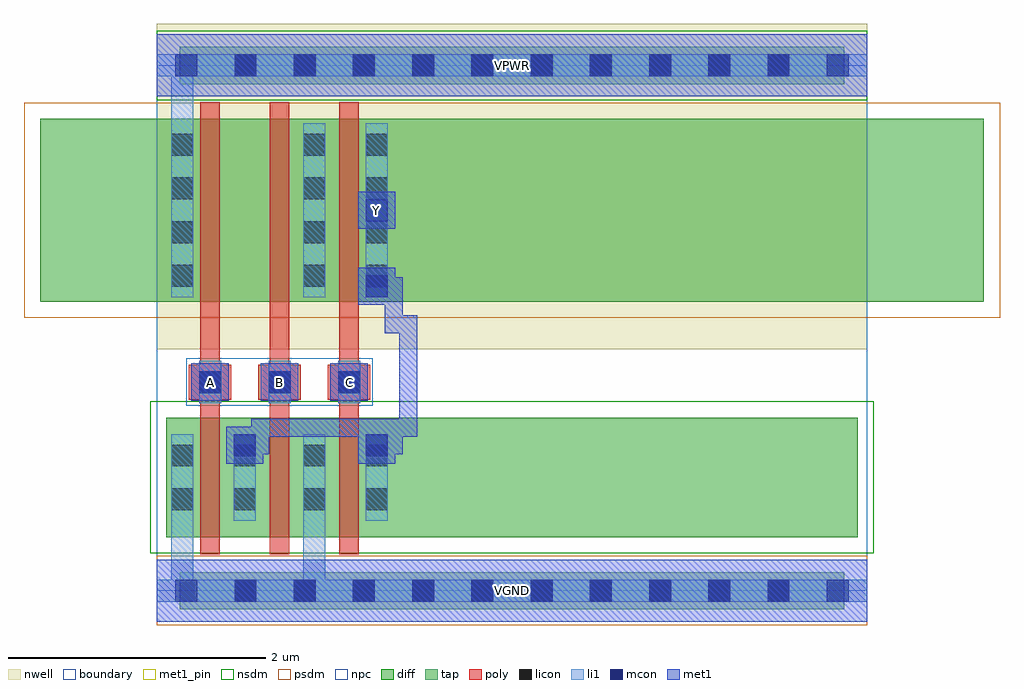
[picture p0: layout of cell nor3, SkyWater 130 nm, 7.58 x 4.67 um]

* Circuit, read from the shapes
.subckt nor3 A B C VGND VPWR Y
XM1 Y A VGND VGND sky130_fd_pr__nfet_01v8 w=0.93 l=0.15
XM2 VGND B Y VGND sky130_fd_pr__nfet_01v8 w=0.93 l=0.15
XM3 Y C VGND VGND sky130_fd_pr__nfet_01v8 w=0.93 l=0.15
XM4 n1 A VPWR VPWR sky130_fd_pr__pfet_01v8 w=1.42 l=0.15
XM5 n2 B n1 VPWR sky130_fd_pr__pfet_01v8 w=1.42 l=0.15
XM6 Y C n2 VPWR sky130_fd_pr__pfet_01v8 w=1.42 l=0.15
.ends

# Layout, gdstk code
import gdstk
lib = gdstk.Library(unit=1e-6, precision=1e-09)
def R(c, l, rs):  # rectangles x0, y0, x1, y1
    for r in rs: c.add(gdstk.rectangle(r[:2], r[2:], *l))
def A(c, l, x, y, w, h, nx, ny, dx, dy):  # array of equal rectangles
    R(c, l, [(x+i*dx, y+j*dy, x+i*dx+w, y+j*dy+h) for i in range(nx) for j in range(ny)])
nwell = (64, 20)
diff = (65, 20)
tap = (65, 44)
poly = (66, 20)
licon = (66, 44)
li1 = (67, 20)
mcon = (67, 44)
met1_pin = (68, 16)
met1 = (68, 20)
nsdm = (93, 44)
psdm = (94, 20)
npc = (95, 20)
boundary = (235, 4)

nor3 = lib.new_cell('nor3')
R(nor3, nwell, [(0,1.875,5.52,4.405)])
R(nor3, diff, [(0.075,0.415,5.445,1.345), (-0.905,2.245,6.425,3.665)])
R(nor3, tap, [(0.18,-0.145,5.34,0.145), (0.18,3.935,5.34,4.225)])
A(nor3, poly, 0.34, 0.285, 0.15, 3.51, 3, 1, 0.54, 0)
A(nor3, poly, 0.25, 1.485, 0.33, 0.27, 3, 1, 0.54, 0)
A(nor3, licon, 0.605, -0.085, 0.17, 0.17, 10, 2, 0.46, 4.08)
A(nor3, licon, 0.33, 1.535, 0.17, 0.17, 3, 1, 0.54, 0)
A(nor3, licon, 0.115, 2.36, 0.17, 0.17, 1, 4, 0, 0.34)
A(nor3, licon, 1.14, 2.36, 0.17, 0.17, 1, 4, 0, 0.34)
A(nor3, licon, 1.625, 2.36, 0.17, 0.17, 1, 4, 0, 0.34)
R(nor3, licon, [(0.115,0.625,0.285,0.795), (0.6,0.625,0.77,0.795), (1.14,0.625,1.31,0.795), (1.625,0.625,1.795,0.795), (0.115,0.965,0.285,1.135), (0.6,0.965,0.77,1.135), (1.14,0.965,1.31,1.135), (1.625,0.965,1.795,1.135)])
A(nor3, li1, 0.33, 1.455, 0.17, 0.33, 3, 1, 0.54, 0)
R(nor3, li1, [(0,-0.085,5.52,0.085), (0.115,-0.085,0.285,1.215), (1.14,-0.085,1.31,1.215), (0.115,0.545,0.285,1.215), (0.6,0.545,0.77,1.215), (1.14,0.545,1.31,1.215), (1.625,0.545,1.795,1.215), (0.115,2.28,0.285,3.63), (0.115,2.28,0.285,4.165), (1.14,2.28,1.31,3.63), (1.625,2.28,1.795,3.63), (0,3.995,5.52,4.165)])
A(nor3, mcon, 0.145, -0.085, 0.17, 0.17, 12, 2, 0.46, 4.08)
A(nor3, mcon, 0.33, 1.535, 0.17, 0.17, 3, 1, 0.54, 0)
R(nor3, mcon, [(0.6,1.045,0.77,1.215), (1.625,1.045,1.795,1.215), (1.625,2.28,1.795,2.45), (1.625,2.87,1.795,3.04)])
A(nor3, met1_pin, 0.27, 1.475, 0.29, 0.29, 3, 1, 0.54, 0)
R(nor3, met1_pin, [(0,-0.24,5.52,0.24), (1.565,2.81,1.855,3.1), (0,3.84,5.52,4.32)])
A(nor3, met1, 0.27, 1.475, 0.29, 0.29, 3, 1, 0.54, 0)
R(nor3, met1, [(0,-0.24,5.52,0.24), (0.54,0.985,0.83,1.275), (1.565,0.985,1.855,1.275), (0.615,1.06,0.875,1.2), (0.735,1.06,0.875,1.335), (1.64,1.06,1.91,1.2), (1.77,1.06,1.91,1.335), (0.735,1.195,1.91,1.335), (1.77,1.195,2.025,1.335), (1.885,1.195,2.025,2.14), (1.77,2,1.91,2.255), (1.77,2,2.025,2.14), (1.77,2.115,1.91,2.435), (1.565,2.22,1.855,2.51), (1.64,2.295,1.91,2.435), (1.565,2.81,1.855,3.1), (0,3.84,5.52,4.32)])
R(nor3, nsdm, [(-0.05,0.29,5.57,1.47), (0,3.81,5.52,4.35)])
R(nor3, psdm, [(0,-0.27,5.52,0.27), (-1.03,2.12,6.55,3.79)])
R(nor3, npc, [(0.23,1.435,1.68,1.805)])
R(nor3, boundary, [(0,0,5.52,4.08)])
nor3.add(gdstk.Label('A', (0.415,1.62), layer=68, texttype=5))
nor3.add(gdstk.Label('B', (0.955,1.62), layer=68, texttype=5))
nor3.add(gdstk.Label('C', (1.495,1.62), layer=68, texttype=5))
nor3.add(gdstk.Label('Y', (1.71,2.955), layer=68, texttype=5))
nor3.add(gdstk.Label('VPWR', (2.76,4.08), layer=68, texttype=5))
nor3.add(gdstk.Label('VGND', (2.76,0), layer=68, texttype=5))
nor3.add(gdstk.Label('A', (0.415,1.62), layer=68, texttype=16))
nor3.add(gdstk.Label('B', (0.955,1.62), layer=68, texttype=16))
nor3.add(gdstk.Label('C', (1.495,1.62), layer=68, texttype=16))
nor3.add(gdstk.Label('Y', (1.71,2.955), layer=68, texttype=16))
nor3.add(gdstk.Label('VPWR', (2.76,4.08), layer=68, texttype=16))
nor3.add(gdstk.Label('VGND', (2.76,0), layer=68, texttype=16))

lib.write_gds('nor3.gds')
